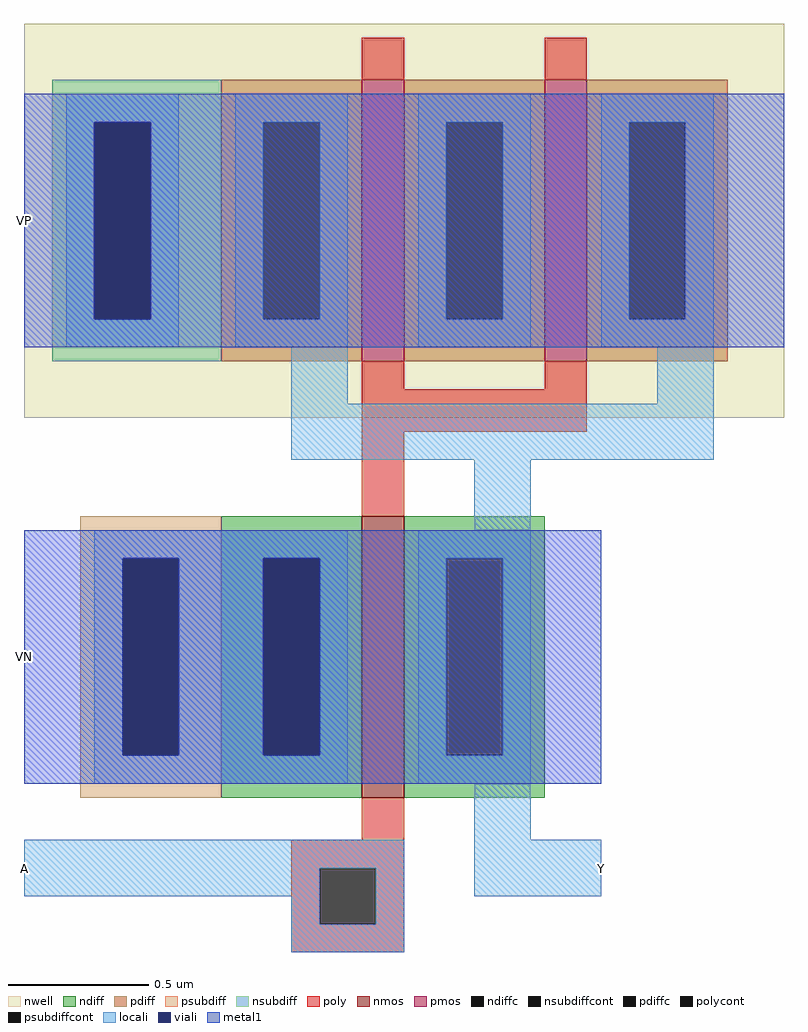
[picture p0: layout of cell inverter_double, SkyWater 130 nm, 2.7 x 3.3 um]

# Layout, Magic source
magic
tech sky130A
<< nwell >>
rect -120 135 150 275
<< nmos >>
rect 0 0 15 100
<< pmos >>
rect 0 155 15 255
rect 65 155 80 255
<< ndiff >>
rect -50 85 0 100
rect -50 15 -35 85
rect -15 15 0 85
rect -50 0 0 15
rect 15 85 65 100
rect 15 15 30 85
rect 50 15 65 85
rect 15 0 65 15
<< pdiff >>
rect -50 240 0 255
rect -50 170 -35 240
rect -15 170 0 240
rect -50 155 0 170
rect 15 240 65 255
rect 15 170 30 240
rect 50 170 65 240
rect 15 155 65 170
rect 80 240 130 255
rect 80 170 95 240
rect 115 170 130 240
rect 80 155 130 170
<< ndiffc >>
rect -35 15 -15 85
rect 30 15 50 85
<< pdiffc >>
rect -35 170 -15 240
rect 30 170 50 240
rect 95 170 115 240
<< psubdiff >>
rect -100 85 -50 100
rect -100 15 -85 85
rect -65 15 -50 85
rect -100 0 -50 15
<< nsubdiff >>
rect -110 240 -50 255
rect -110 170 -95 240
rect -75 170 -50 240
rect -110 155 -50 170
<< psubdiffcont >>
rect -85 15 -65 85
<< nsubdiffcont >>
rect -95 170 -75 240
<< poly >>
rect 0 255 15 270
rect 65 255 80 270
rect 0 145 15 155
rect 65 145 80 155
rect 0 130 80 145
rect 0 100 15 130
rect 0 -15 15 0
rect -25 -25 15 -15
rect -25 -45 -15 -25
rect 5 -45 15 -25
rect -25 -55 15 -45
<< polycont >>
rect -15 -45 5 -25
<< locali >>
rect -105 240 -65 250
rect -105 170 -95 240
rect -75 170 -65 240
rect -105 160 -65 170
rect -45 240 -5 250
rect -45 170 -35 240
rect -15 170 -5 240
rect -45 160 -5 170
rect 20 240 60 250
rect 20 170 30 240
rect 50 170 60 240
rect 20 160 60 170
rect 85 240 125 250
rect 85 170 95 240
rect 115 170 125 240
rect 85 160 125 170
rect -25 140 -5 160
rect 105 140 125 160
rect -25 120 125 140
rect 40 95 60 120
rect -95 85 -5 95
rect -95 15 -85 85
rect -65 15 -35 85
rect -15 15 -5 85
rect -95 5 -5 15
rect 20 85 60 95
rect 20 15 30 85
rect 50 15 60 85
rect 20 5 60 15
rect 40 -15 60 5
rect -120 -25 15 -15
rect -120 -35 -15 -25
rect -25 -45 -15 -35
rect 5 -45 15 -25
rect 40 -35 85 -15
rect -25 -55 15 -45
<< viali >>
rect -95 170 -75 240
rect -85 15 -65 85
rect -35 15 -15 85
<< metal1 >>
rect -120 240 150 250
rect -120 170 -95 240
rect -75 170 150 240
rect -120 160 150 170
rect -120 85 85 95
rect -120 15 -85 85
rect -65 15 -35 85
rect -15 15 85 85
rect -120 5 85 15
<< labels >>
rlabel locali -120 -25 -120 -25 7 A
port 1 w
rlabel metal1 -120 50 -120 50 7 VN
port 2 w
rlabel metal1 -120 205 -120 205 7 VP
port 3 w
rlabel locali 85 -25 85 -25 3 Y
port 4 e
<< end >>
